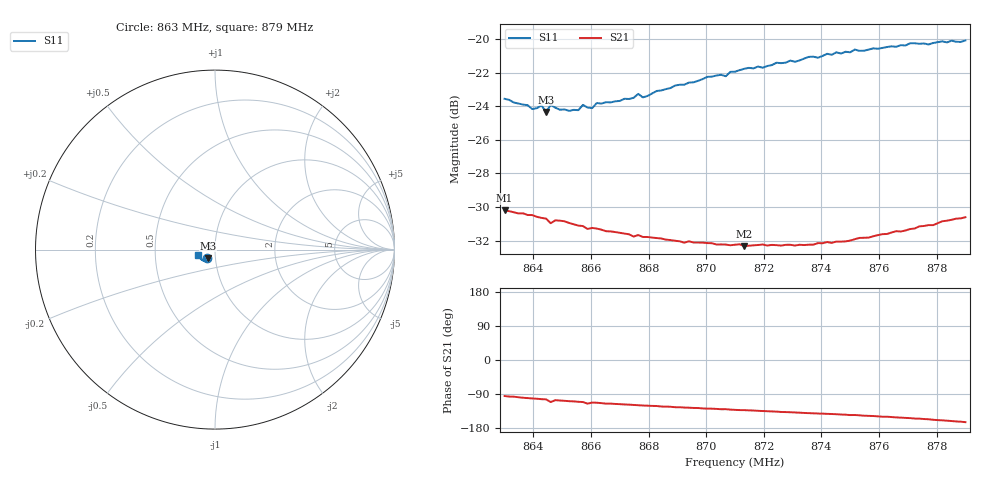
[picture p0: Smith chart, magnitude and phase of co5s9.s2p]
# HZ S RI R 50
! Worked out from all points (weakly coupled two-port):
!   101 points, 863 MHz to 879 MHz, reference 50 ohm
!   highest |S21| = -30.20 dB at 863 MHz (marker M1); lowest = -32.3 dB at 871.32 MHz (marker M2)
!   lowest |S11| = -24.3 dB at 864.44 MHz (marker M3), VSWR 1.13, Z = 46.1 - j4.32 ohm
!   |S11| at or under -10 dB: start of sweep to end of sweep
!   S12 and S22 are empty: the file has one direction only
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8.63e8  -0.0459 -0.0482  -0.00275 -0.0308  0 0  0 0
8.638e8  -0.0425 -0.0474  -0.00546 -0.0294  0 0  0 0
8.6396e8  -0.0402 -0.0471  -0.00596 -0.0293  0 0  0 0
8.6428e8  -0.0396 -0.0497  -0.00679 -0.0285  0 0  0 0
8.6444e8  -0.0388 -0.0467  -0.007 -0.0283  0 0  0 0
8.646e8  -0.0413 -0.0486  -0.0101 -0.0264  0 0  0 0
8.6476e8  -0.0383 -0.0495  -0.00796 -0.0277  0 0  0 0
8.6524e8  -0.0368 -0.0489  -0.00907 -0.0268  0 0  0 0
8.6556e8  -0.0357 -0.0501  -0.00964 -0.0261  0 0  0 0
8.6572e8  -0.0362 -0.0525  -0.00992 -0.0259  0 0  0 0
8.6604e8  -0.0352 -0.0515  -0.0104 -0.0253  0 0  0 0
8.662e8  -0.0376 -0.0525  -0.0106 -0.0251  0 0  0 0
8.6732e8  -0.0366 -0.0555  -0.0122 -0.0232  0 0  0 0
8.6764e8  -0.037 -0.058  -0.0128 -0.0227  0 0  0 0
8.678e8  -0.0359 -0.0568  -0.0129 -0.0223  0 0  0 0
8.6844e8  -0.038 -0.0593  -0.0138 -0.0214  0 0  0 0
8.6924e8  -0.0408 -0.0609  -0.0144 -0.0202  0 0  0 0
8.71e8  -0.0493 -0.0631  -0.0162 -0.0183  0 0  0 0
8.7132e8  -0.0503 -0.0644  -0.0163 -0.0179  0 0  0 0
8.7372e8  -0.0643 -0.0613  -0.0189 -0.0155  0 0  0 0
8.7644e8  -0.0816 -0.0493  -0.0231 -0.013  0 0  0 0
8.79e8  -0.094 -0.0321  -0.0283 -0.00811  0 0  0 0
